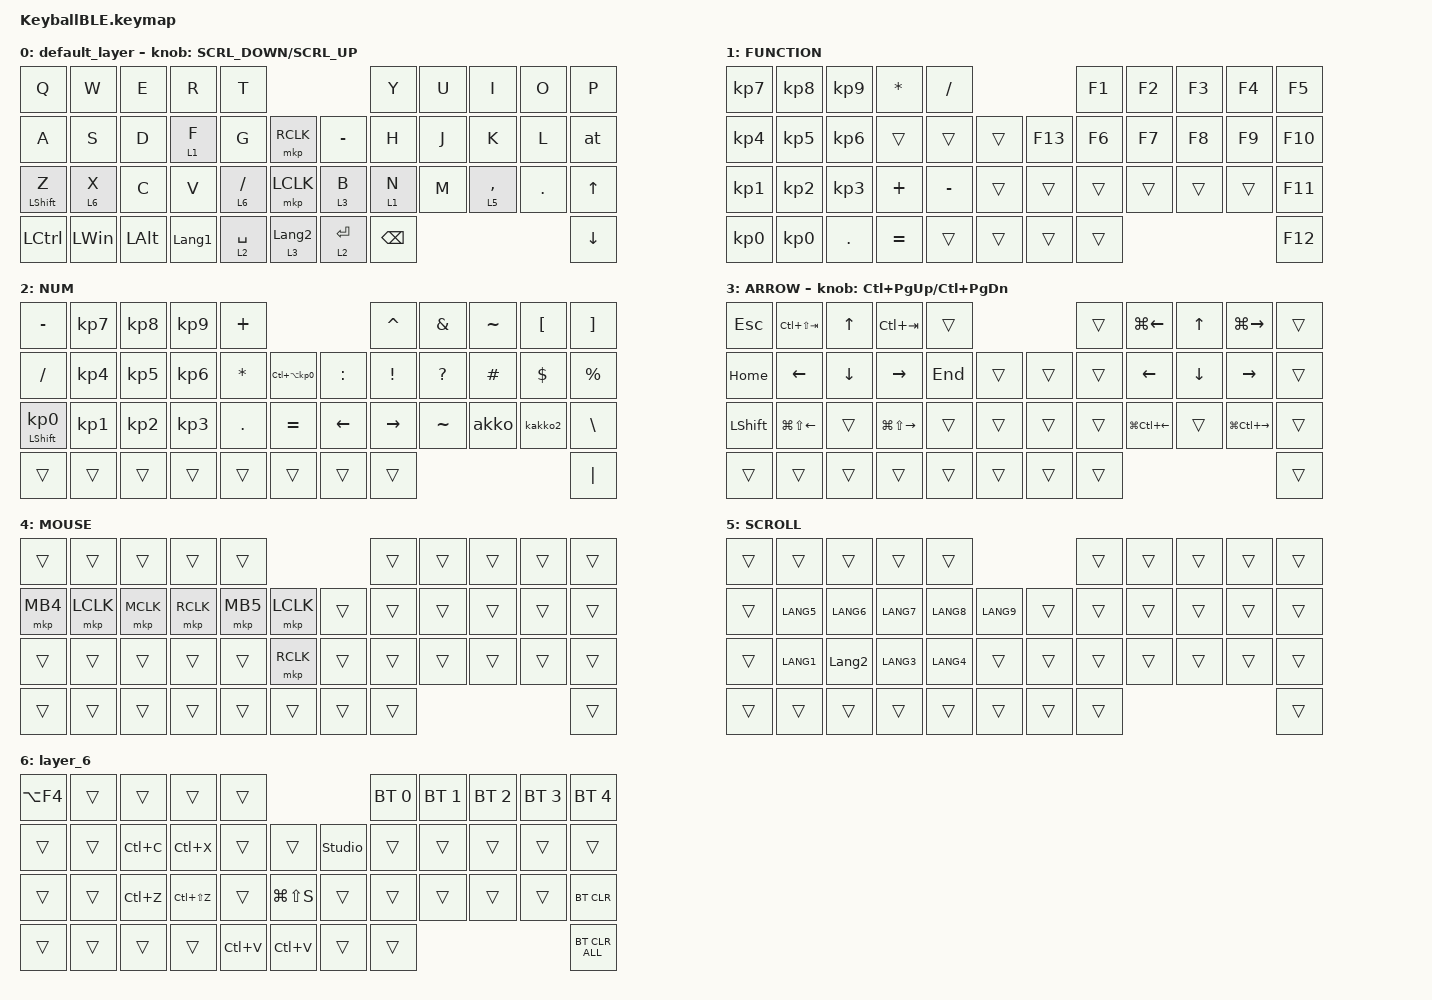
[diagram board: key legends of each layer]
#define ZMK_POINTING_DEFAULT_SCRL_VAL 120    // default: 10

#include <behaviors.dtsi>
#include <dt-bindings/zmk/bt.h>
#include <dt-bindings/zmk/keys.h>
#include <dt-bindings/zmk/pointing.h>

#define MOUSE 4
#define SCROLL 5
#define NUM 6

&mt {
    flavor = "balanced";
    quick-tap-ms = <0>;
};

/ {
    combos {
        compatible = "zmk,combos";

        double_quotation {
            bindings = <&kp DOUBLE_QUOTES>;
            key-positions = <20 21>;
        };

        migi {
            bindings = <&mkp RCLK>;
            key-positions = <19 20>;
        };

        hidari {
            bindings = <&mkp LCLK>;
            key-positions = <19 18>;
        };

        naka {
            bindings = <&mkp MCLK>;
            key-positions = <19 30>;
        };

        tab {
            bindings = <&kp TAB>;
            key-positions = <10 12>;
        };

        esc {
            bindings = <&kp ESC>;
            key-positions = <0 2>;
        };
    };

    macros {
        at: to_layer_0 {
            compatible = "zmk,behavior-macro";
            #binding-cells = <0>;
            bindings = <&kp LANGUAGE_2 &kp AT_SIGN>;
            label = "TO_LAYER_0";
        };

        akko: akko {
            compatible = "zmk,behavior-macro";
            #binding-cells = <0>;
            bindings = <&kp LANGUAGE_1 &kp LEFT_BRACKET &kp RIGHT_BRACKET &kp ENTER &kp LEFT_ARROW>;
            label = "AKKO";
        };

        kakko2: kakko2 {
            compatible = "zmk,behavior-macro";
            #binding-cells = <0>;
            bindings = <&kp LANGUAGE_2 &kp LEFT_PARENTHESIS &kp RIGHT_PARENTHESIS &kp LEFT_ARROW>;
            label = "KAKKO2";
        };
    };

    behaviors {
        lt_to_layer_0: lt_to_layer_0 {
            compatible = "zmk,behavior-hold-tap";
            label = "LAYER_TAP_TO_0";
            bindings = <&mo>, <&at>;

            #binding-cells = <2>;
            tapping-term-ms = <200>;
        };

        ROTATE: ROTATE {
            compatible = "zmk,behavior-sensor-rotate-var";
            label = "ROTATE";
            #sensor-binding-cells = <2>;
            bindings = <&msc>, <&msc>;

            tap-ms = <20>;
        };
    };

    keymap {
        compatible = "zmk,keymap";

        default_layer {
            bindings = <
&kp Q             &kp W         &kp E         &kp R           &kp T                                           &kp Y          &kp U  &kp I        &kp O    &kp P
&kp A             &kp S         &kp D         &lt 1 F         &kp G        &mkp RCLK             &kp MINUS    &kp H          &kp J  &kp K        &kp L    &at
&mt LEFT_SHIFT Z  &lt 6 X       &kp C         &kp V           &lt 6 SLASH  &mkp LCLK             &lt 3 B      &lt 1 N        &kp M  &lt 5 COMMA  &kp DOT  &kp UP_ARROW
&kp LCTRL         &kp LEFT_WIN  &kp LEFT_ALT  &kp LANGUAGE_1  &lt 2 SPACE  &lt 3 LANGUAGE_2      &lt 2 ENTER  &kp BACKSPACE                               &kp DOWN_ARROW
            >;

            sensor-bindings = <&ROTATE SCRL_DOWN SCRL_UP>;
        };

        FUNCTION {
            bindings = <
&kp KP_NUMBER_7  &kp KP_NUMBER_8  &kp KP_NUMBER_9  &kp ASTERISK  &kp SLASH                       &kp F1  &kp F2  &kp F3  &kp F4  &kp F5
&kp KP_NUMBER_4  &kp KP_NUMBER_5  &kp KP_NUMBER_6  &trans        &trans     &trans      &kp F13  &kp F6  &kp F7  &kp F8  &kp F9  &kp F10
&kp KP_NUMBER_1  &kp KP_NUMBER_2  &kp KP_NUMBER_3  &kp PLUS      &kp MINUS  &trans      &trans   &trans  &trans  &trans  &trans  &kp F11
&kp KP_NUMBER_0  &kp KP_N0        &kp DOT          &kp EQUAL     &trans     &trans      &trans   &trans                          &kp F12
            >;
        };

        NUM {
            bindings = <
&kp MINUS                   &kp KP_NUMBER_7  &kp KP_NUMBER_8  &kp KP_NUMBER_9  &kp PLUS                                                   &kp CARET        &kp AMPERSAND  &kp TILDE  &kp LEFT_BRACKET  &kp RIGHT_BRACKET
&kp SLASH                   &kp KP_NUMBER_4  &kp KP_NUMBER_5  &kp KP_NUMBER_6  &kp ASTERISK  &kp LC(LA(KP_NUMBER_0))      &kp COLON       &kp EXCLAMATION  &kp QUESTION   &kp HASH   &kp DOLLAR        &kp PERCENT
&mt LEFT_SHIFT KP_NUMBER_0  &kp KP_NUMBER_1  &kp KP_NUMBER_2  &kp KP_NUMBER_3  &kp PERIOD    &kp EQUAL                    &kp LEFT_ARROW  &kp RIGHT_ARROW  &kp TILDE      &akko      &kakko2           &kp BACKSLASH
&trans                      &trans           &trans           &trans           &trans        &trans                       &trans          &trans                                                       &kp PIPE
            >;
        };

        ARROW {
            bindings = <
&kp ESCAPE      &kp LC(LS(TAB))         &kp UP_ARROW    &kp LC(TAB)              &trans                       &trans  &kp LG(LEFT_ARROW)      &kp UP_ARROW    &kp LG(RIGHT_ARROW)      &trans
&kp HOME        &kp LEFT_ARROW          &kp DOWN_ARROW  &kp RIGHT_ARROW          &kp END  &trans      &trans  &trans  &kp LEFT_ARROW          &kp DOWN_ARROW  &kp RIGHT_ARROW          &trans
&kp LEFT_SHIFT  &kp LG(LS(LEFT_ARROW))  &trans          &kp LG(LS(RIGHT_ARROW))  &trans   &trans      &trans  &trans  &kp LG(LC(LEFT_ARROW))  &trans          &kp LG(LC(RIGHT_ARROW))  &trans
&trans          &trans                  &trans          &trans                   &trans   &trans      &trans  &trans                                                                   &trans
            >;

            sensor-bindings = <&inc_dec_kp LC(PAGE_UP) LC(PAGE_DOWN)>;
        };

        MOUSE {
            bindings = <
&trans    &trans     &trans     &trans     &trans                           &trans  &trans  &trans  &trans  &trans
&mkp MB4  &mkp LCLK  &mkp MCLK  &mkp RCLK  &mkp MB5  &mkp LCLK      &trans  &trans  &trans  &trans  &trans  &trans
&trans    &trans     &trans     &trans     &trans    &mkp RCLK      &trans  &trans  &trans  &trans  &trans  &trans
&trans    &trans     &trans     &trans     &trans    &trans         &trans  &trans                          &trans
            >;
        };

        SCROLL {
            bindings = <
&trans  &trans     &trans          &trans     &trans                            &trans  &trans  &trans  &trans  &trans
&trans  &kp LANG5  &kp LANG6       &kp LANG7  &kp LANG8  &kp LANG9      &trans  &trans  &trans  &trans  &trans  &trans
&trans  &kp LANG1  &kp LANGUAGE_2  &kp LANG3  &kp LANG4  &trans         &trans  &trans  &trans  &trans  &trans  &trans
&trans  &trans     &trans          &trans     &trans     &trans         &trans  &trans                          &trans
            >;
        };

        layer_6 {
            bindings = <
&kp LA(F4)  &trans  &trans     &trans         &trans                                        &bt BT_SEL 0  &bt BT_SEL 1  &bt BT_SEL 2  &bt BT_SEL 3  &bt BT_SEL 4
&trans      &trans  &kp LC(C)  &kp LC(X)      &trans     &trans             &studio_unlock  &trans        &trans        &trans        &trans        &trans
&trans      &trans  &kp LC(Z)  &kp LC(LS(Z))  &trans     &kp LG(LS(S))      &trans          &trans        &trans        &trans        &trans        &bt BT_CLR
&trans      &trans  &trans     &trans         &kp LC(V)  &kp LC(V)          &trans          &trans                                                  &bt BT_CLR_ALL
            >;
        };
    };
};
